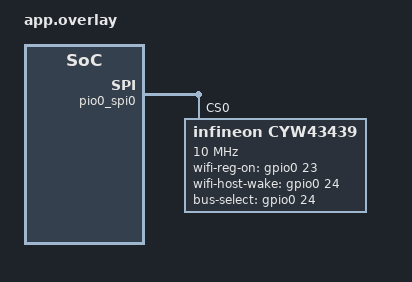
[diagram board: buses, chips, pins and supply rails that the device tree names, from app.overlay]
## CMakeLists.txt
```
cmake_minimum_required(VERSION 3.20.0)

find_package(Zephyr REQUIRED HINTS $ENV{ZEPHYR_BASE})
project(mfd_led_test)

# Use wifi_test.c if WiFi is enabled, otherwise use main.c
if(CONFIG_WIFI)
  target_sources(app PRIVATE src/wifi_test.c)
else()
  target_sources(app PRIVATE src/main.c)
endif()
```

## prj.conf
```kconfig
CONFIG_SERIAL=y
CONFIG_CONSOLE=y
CONFIG_UART_CONSOLE=y
CONFIG_PRINTK=y
CONFIG_LOG=y

CONFIG_MFD=y
CONFIG_MFD_CYW43439=y

CONFIG_LED=y
CONFIG_LED_CYW43439=y

CONFIG_SPI=y
CONFIG_GPIO=y
```

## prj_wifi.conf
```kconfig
# MFD WiFi Test Configuration

# MFD Driver (init first)
CONFIG_MFD=y
CONFIG_MFD_CYW43439=y
CONFIG_MFD_INIT_PRIORITY=70

# LED Driver
CONFIG_LED=y
CONFIG_LED_CYW43439=y

# WiFi Driver (init after MFD)
CONFIG_WIFI=y
CONFIG_WIFI_INIT_PRIORITY=85

# Networking (minimal)
CONFIG_NETWORKING=y
CONFIG_NET_L2_ETHERNET=y
CONFIG_NET_IPV4=y
CONFIG_NET_DHCPV4=y

# Logging
CONFIG_LOG=y
CONFIG_WIFI_LOG_LEVEL_DBG=y
CONFIG_MFD_LOG_LEVEL_DBG=y
```

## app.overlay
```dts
/*
 * MFD overlay for Pico 2 W - LED only
 */

&pio0_spi0 {
	/delete-node/ airoc-wifi@0;
	
	cyw43439: cyw43439@0 {
		compatible = "infineon,cyw43439";
		reg = <0>;
		spi-max-frequency = <10000000>;
		wifi-reg-on-gpios = <&gpio0 23 GPIO_ACTIVE_HIGH>;
		wifi-host-wake-gpios = <&gpio0 24 GPIO_ACTIVE_HIGH>;
		bus-select-gpios = <&gpio0 24 GPIO_ACTIVE_HIGH>;
		
		cyw43439_led: led {
			compatible = "infineon,cyw43439-led";
			gpios = <0>;
			status = "okay";
		};
		
		/* WiFi uses original airoc-wifi compatible */
		cyw43439_wifi: airoc-wifi {
			compatible = "infineon,airoc-wifi";
			status = "okay";
		};
	};
};

/ {
	aliases {
		led0 = &cyw43439_led;
	};
};
```

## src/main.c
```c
/*
 * MFD LED Test for Pico W / Pico 2 W
 * Copyright (c) 2026 Beechwoods Software
 * SPDX-License-Identifier: Apache-2.0
 */

#include <zephyr/kernel.h>
#include <zephyr/drivers/led.h>
#include <zephyr/logging/log.h>

LOG_MODULE_REGISTER(mfd_led_test, LOG_LEVEL_INF);

int main(void)
{
	const struct device *led;
	int ret;
	
	printk("\n=== MFD LED Test for Pico W/2W ===\n");
	
	led = DEVICE_DT_GET_ANY(infineon_cyw43439_led);
	if (!led) {
		printk("ERROR: No CYW43439 LED device found\n");
		printk("Make sure you're using *_mfd board variant\n");
		return -ENODEV;
	}
	
	if (!device_is_ready(led)) {
		printk("ERROR: LED device not ready\n");
		return -ENODEV;
	}
	
	printk("LED device: %s\n", led->name);
	printk("Starting blink test...\n\n");
	
	while (1) {
		ret = led_on(led, 0);
		if (ret < 0) {
			printk("LED ON failed: %d\n", ret);
		} else {
			printk("LED: ON\n");
		}
		k_sleep(K_MSEC(500));
		
		ret = led_off(led, 0);
		if (ret < 0) {
			printk("LED OFF failed: %d\n", ret);
		} else {
			printk("LED: OFF\n");
		}
		k_sleep(K_MSEC(500));
	}
	
	return 0;
}
```

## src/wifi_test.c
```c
/*
 * MFD WiFi Test
 * Copyright (c) 2026
 * SPDX-License-Identifier: Apache-2.0
 */

#include <zephyr/kernel.h>
#include <zephyr/net/wifi_mgmt.h>
#include <zephyr/net/net_if.h>
#include <zephyr/logging/log.h>

LOG_MODULE_REGISTER(mfd_wifi_test, LOG_LEVEL_DBG);

int main(void)
{
	struct net_if *iface;

	LOG_INF("=== MFD WiFi Test ===");

	/* Get WiFi interface */
	iface = net_if_get_first_wifi();
	if (!iface) {
		LOG_ERR("No WiFi interface found");
		return -1;
	}

	LOG_INF("WiFi interface found: %p", iface);
	LOG_INF("WiFi test complete - interface detected");

	return 0;
}
```
